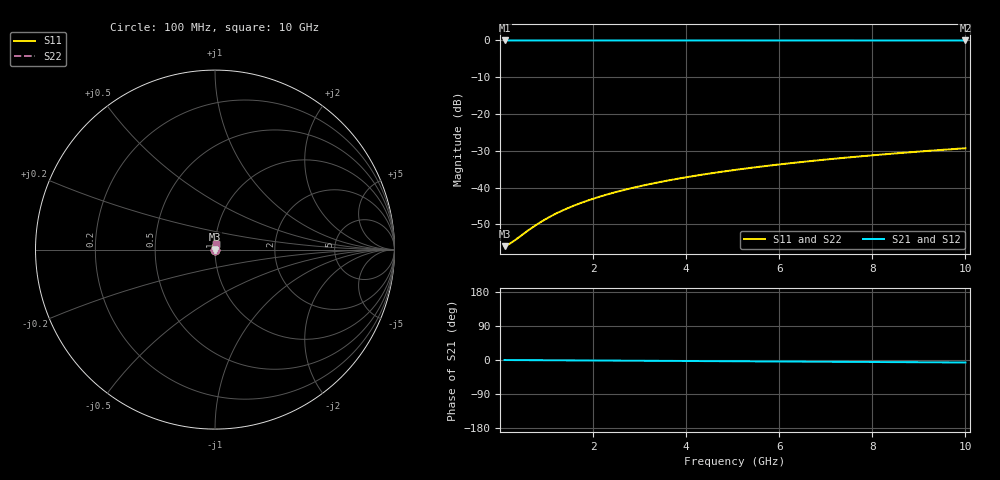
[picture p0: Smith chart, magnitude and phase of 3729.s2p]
# Hz S RI R 50.00
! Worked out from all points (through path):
!   100 points, 100 MHz to 10 GHz, reference 50 ohm
!   highest |S21| = -0.01 dB at 100 MHz (marker M1); lowest = 0.0 dB at 10 GHz (marker M2)
!   lowest |S11| = -55.9 dB at 100 MHz (marker M3), VSWR 1.00, Z = 50.2 + j0.0343 ohm
!   |S11| at or under -10 dB: start of sweep to end of sweep
!   |S22| runs from -55.9 to -29.3 dB; largest |S21 - S12| = 0
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1e8  0.00157 0.000342  0.9984 -0.00114  0.9984 -0.00114  0.00157 0.000342
2e8  0.00158 0.000683  0.9984 -0.00229  0.9984 -0.00229  0.00158 0.000683
3e8  0.00159 0.00103  0.9984 -0.00343  0.9984 -0.00343  0.00159 0.00103
7e8  0.00162 0.00239  0.9984 -0.008  0.9984 -0.008  0.00162 0.00239
8e8  0.00163 0.00273  0.9983 -0.00914  0.9983 -0.00914  0.00163 0.00273
1e9  0.00165 0.00342  0.9983 -0.0114  0.9983 -0.0114  0.00165 0.00342
1.2e9  0.00168 0.0041  0.9983 -0.0137  0.9983 -0.0137  0.00168 0.0041
1.4e9  0.0017 0.00478  0.9982 -0.016  0.9982 -0.016  0.0017 0.00478
1.6e9  0.00173 0.00546  0.9982 -0.0183  0.9982 -0.0183  0.00173 0.00546
1.8e9  0.00176 0.00615  0.9981 -0.0206  0.9981 -0.0206  0.00176 0.00615
2.1e9  0.00181 0.00717  0.998 -0.024  0.998 -0.024  0.00181 0.00717
2.5e9  0.00189 0.00854  0.9979 -0.0286  0.9979 -0.0286  0.00189 0.00854
2.9e9  0.00198 0.0099  0.9977 -0.0331  0.9977 -0.0331  0.00198 0.0099
3.4e9  0.00211 0.0116  0.9975 -0.0389  0.9975 -0.0389  0.00211 0.0116
3.8e9  0.00223 0.013  0.9973 -0.0434  0.9973 -0.0434  0.00223 0.013
4.2e9  0.00236 0.0143  0.997 -0.048  0.997 -0.048  0.00236 0.0143
5.1e9  0.0027 0.0174  0.9964 -0.0583  0.9964 -0.0583  0.0027 0.0174
5.9e9  0.00305 0.0201  0.9958 -0.0674  0.9958 -0.0674  0.00305 0.0201
6.7e9  0.00346 0.0228  0.995 -0.0765  0.995 -0.0765  0.00346 0.0228
7.5e9  0.00391 0.0255  0.9942 -0.0856  0.9942 -0.0856  0.00391 0.0255
8.4e9  0.00448 0.0285  0.9932 -0.0959  0.9932 -0.0959  0.00448 0.0285
1e10  0.00564 0.0338  0.9911 -0.1141  0.9911 -0.1141  0.00564 0.0338
